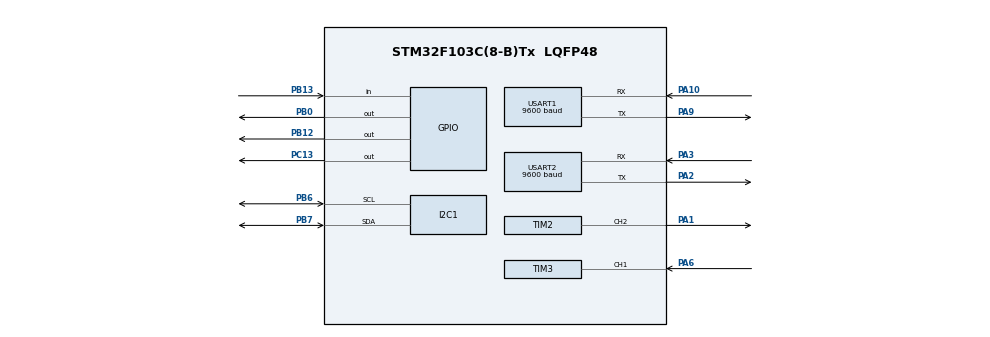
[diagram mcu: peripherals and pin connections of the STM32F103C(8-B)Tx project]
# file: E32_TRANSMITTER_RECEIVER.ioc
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Dma.Request0=TIM2_CH2/CH4
Dma.Request1=TIM3_CH4/UP
Dma.TIM2_CH2/CH4.0.Direction=DMA_MEMORY_TO_PERIPH
Dma.TIM2_CH2/CH4.0.Instance=DMA1_Channel7
Dma.TIM2_CH2/CH4.0.MemDataAlignment=DMA_MDATAALIGN_HALFWORD
Dma.TIM2_CH2/CH4.0.MemInc=DMA_MINC_ENABLE
Dma.TIM2_CH2/CH4.0.Mode=DMA_NORMAL
Dma.TIM2_CH2/CH4.0.PeriphDataAlignment=DMA_PDATAALIGN_HALFWORD
Dma.TIM2_CH2/CH4.0.PeriphInc=DMA_PINC_DISABLE
Dma.TIM2_CH2/CH4.0.Priority=DMA_PRIORITY_LOW
Dma.TIM3_CH4/UP.1.Direction=DMA_MEMORY_TO_PERIPH
Dma.TIM3_CH4/UP.1.Instance=DMA1_Channel3
Dma.TIM3_CH4/UP.1.MemDataAlignment=DMA_MDATAALIGN_HALFWORD
Dma.TIM3_CH4/UP.1.MemInc=DMA_MINC_ENABLE
Dma.TIM3_CH4/UP.1.Mode=DMA_NORMAL
Dma.TIM3_CH4/UP.1.PeriphDataAlignment=DMA_PDATAALIGN_HALFWORD
Dma.TIM3_CH4/UP.1.PeriphInc=DMA_PINC_DISABLE
Dma.TIM3_CH4/UP.1.Priority=DMA_PRIORITY_LOW
I2C1.I2C_Mode=I2C_Fast
Mcu.Family=STM32F1
Mcu.Name=STM32F103C(8-B)Tx
Mcu.Package=LQFP48
NVIC.DMA1_Channel3_IRQn=true\:0\:0\:false\:false\:true\:false\:true\:true
NVIC.DMA1_Channel7_IRQn=true\:0\:0\:false\:false\:true\:false\:true\:true
NVIC.I2C1_ER_IRQn=true\:0\:0\:false\:false\:true\:true\:true\:true
NVIC.I2C1_EV_IRQn=true\:0\:0\:false\:false\:true\:true\:true\:true
NVIC.PriorityGroup=NVIC_PRIORITYGROUP_4
NVIC.TIM2_IRQn=true\:0\:0\:false\:false\:true\:true\:true\:true
NVIC.TIM3_IRQn=true\:0\:0\:false\:false\:true\:true\:true\:true
PA1.Signal=S_TIM2_CH2
PA10.Mode=Asynchronous
PA10.Signal=USART1_RX
PA2.Mode=Asynchronous
PA2.Signal=USART2_TX
PA3.Mode=Asynchronous
PA3.Signal=USART2_RX
PA6.Signal=S_TIM3_CH1
PA9.Mode=Asynchronous
PA9.Signal=USART1_TX
PB0.GPIO_PuPd=GPIO_PULLDOWN
PB0.PinState=GPIO_PIN_RESET
PB0.Signal=GPIO_Output
PB12.GPIO_PuPd=GPIO_PULLDOWN
PB12.Signal=GPIO_Output
PB13.GPIO_PuPd=GPIO_PULLDOWN
PB13.Signal=GPIO_Input
PB6.Mode=I2C
PB6.Signal=I2C1_SCL
PB7.Mode=I2C
PB7.Signal=I2C1_SDA
PC13-TAMPER-RTC.Signal=GPIO_Output
PD0-OSC_IN.Mode=HSE-External-Oscillator
PD0-OSC_IN.Signal=RCC_OSC_IN
PD1-OSC_OUT.Mode=HSE-External-Oscillator
PD1-OSC_OUT.Signal=RCC_OSC_OUT
ProjectManager.HeapSize=0x200
ProjectManager.StackSize=0x400
ProjectManager.TargetToolchain=STM32CubeIDE
RCC.APB1Freq_Value=8000000
RCC.APB2Freq_Value=8000000
SH.S_TIM2_CH2.0=TIM2_CH2,PWM Generation2 CH2
SH.S_TIM3_CH1.0=TIM3_CH1,Input_Capture1_from_TI1
TIM2.Channel-PWM\ Generation2\ CH2=TIM_CHANNEL_2
TIM2.Period=999
TIM2.Prescaler=79
TIM3.Channel-Input_Capture1_from_TI1=TIM_CHANNEL_1
TIM3.Prescaler=79
USART1.BaudRate=9600
USART1.VirtualMode=VM_ASYNC
USART2.BaudRate=9600
USART2.VirtualMode=VM_ASYNC
VP_SYS_VS_ND.Mode=No_Debug
board=custom

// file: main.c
/* USER CODE BEGIN Header */
/**
  ******************************************************************************
  * @file    main.c
  * @brief   Unified TX/RX firmware
  *          PB12=HIGH → TRANSMITTER
  *          PB12=LOW  → RECEIVER
  ******************************************************************************
  */
//Timers:
//  TIM2 → CH2 PWM output  → PA1
//  TIM3 → CH1 Input Capture → PA6
//         Base interrupt ON
//         IC interrupt ON
//
//UART:
//  USART1 → 9600 baud → PA9(TX) PA10(RX)
//  USART2 → 9600 baud → PA2(TX) PA3(RX)
//
//GPIO outputs:
//  PB0  → E32 M0+M1 shorted (LOW=Normal, HIGH=Configure)
//  PB12 → Input pull-down → HIGH=TX / LOW=RX
//  PC13 → Output → LED
//
//I2C1:
//  PB6 SCL, PB7 SDA
//  Speed = 100kHz
/* USER CODE END Header */

#include "main.h"
#include "dma.h"
#include "i2c.h"
#include "tim.h"
#include "usart.h"
#include "gpio.h"

/* USER CODE BEGIN Includes */
#include "ssd1306.h"
#include "fonts.h"
#include <stdio.h>
#include <string.h>
/* USER CODE END Includes */

/* USER CODE BEGIN PTD */
typedef enum
{
    ROLE_IDLE        = 0,
    ROLE_TRANSMITTER = 1,
    ROLE_RECEIVER    = 2
} DeviceRole;
/* USER CODE END PTD */

/* USER CODE BEGIN PD */
/* ── Role pin ── */
#define TX_SELECT_PORT      GPIOB
#define TX_SELECT_PIN       GPIO_PIN_12

/* ── E32 mode pin ── */
#define E32_M0_PORT         GPIOB
#define E32_M0_PIN          GPIO_PIN_0

/* ── E32 operating mode — change this line only ──
 *    NORMAL    → PB0 LOW  → M0=0, M1=0 → Normal operation
 *    CONFIGURE → PB0 HIGH → M0=1, M1=1 → Configure mode   */
#define NORMAL              0
#define CONFIGURE           1
#define E32_MODE            NORMAL    /* <── change here */

#if E32_MODE == CONFIGURE
    #define E32_ApplyMode() HAL_GPIO_WritePin(E32_M0_PORT, E32_M0_PIN, GPIO_PIN_SET)
#else
    #define E32_ApplyMode() HAL_GPIO_WritePin(E32_M0_PORT, E32_M0_PIN, GPIO_PIN_RESET)
#endif

/* ── UART aliases ── */
#define FTDI_UART           huart1    /* USART1 PA9/PA10 → FTDI/PC  */
#define E32_UART            huart2    /* USART2 PA2/PA3  → E32 LoRa */

/* ── OLED addresses ── */
#define OLED_ADDR_PRIMARY   0x78
#define OLED_ADDR_FALLBACK  0x7A

/* ── RX buffer ── */
#define RX_BUF_SIZE         80

/* ── Timer clock: HSI 8MHz, PSC=79 → 100kHz ── */
#define TIMER_CLK           100000.0f
#define PPR                 1

/* ── Averaging ── */
#define AVG_LOW             4
#define AVG_MID             16
#define AVG_HIGH            64
#define AVG_MAX             64
#define MA_WINDOW           10

/* ── TX timing ── */
#define TX_INTERVAL_MS      500
#define E32_TX_DELAY_MS     200
/* USER CODE END PD */

/* USER CODE BEGIN PV */
/* ── Role ── */
static DeviceRole g_role = ROLE_IDLE;

/* ── TX variables ── */
static volatile uint32_t overflow_count = 0;
static uint32_t cap_buf[AVG_MAX + 1];
static uint8_t  cap_idx    = 0;
static uint8_t  cur_avg    = AVG_MID;
static uint8_t  meas_ready = 0;
volatile float  g_Frequency = 0.0f;

/* ── Moving average ── */
static float   ma_buf[MA_WINDOW] = {0};
static uint8_t ma_idx   = 0;
static uint8_t ma_count = 0;

/* ── RX variables ── */
static char    rx_buf[RX_BUF_SIZE];
static uint8_t rx_idx = 0;
/* USER CODE END PV */

void SystemClock_Config(void);
/* USER CODE BEGIN PFP */
static float   moving_average(float v);
static void    E32_SetMode(void);
static void    E32_Transmit(uint32_t freq, uint32_t rpm);
static void    TX_OLED_Display(uint32_t freq, uint32_t rpm);
static uint8_t OLED_Verify(void);
static void    Parse_And_Display(char *line);
static void    TX_Init(void);
static void    TX_Loop(void);
static void    RX_Init(void);
static void    RX_Loop(void);
static void    IDLE_Loop(void);
/* USER CODE END PFP */

/* USER CODE BEGIN 0 */

/* ══════════════════════════════════════════════
 * MOVING AVERAGE
 * ══════════════════════════════════════════════ */
static float moving_average(float new_freq)
{
    if (ma_count > 0)
    {
        float last = ma_buf[(ma_idx == 0) ?
                    (MA_WINDOW - 1) : (ma_idx - 1)];
        if (last > 0.0f)
        {
            float ratio = new_freq / last;
            if (ratio < 0.5f || ratio > 2.0f)
            {
                ma_count = 0;
                ma_idx   = 0;
                for (uint8_t i = 0; i < MA_WINDOW; i++)
                    ma_buf[i] = 0.0f;
            }
        }
    }
    ma_buf[ma_idx] = new_freq;
    ma_idx = (ma_idx + 1) % MA_WINDOW;
    if (ma_count < MA_WINDOW) ma_count++;

    float sum = 0.0f;
    for (uint8_t i = 0; i < ma_count; i++)
        sum += ma_buf[i];
    return sum / (float)ma_count;
}

/* ══════════════════════════════════════════════
 * E32 MODE
 * ══════════════════════════════════════════════ */
static void E32_SetMode(void)
{
    E32_ApplyMode();
    HAL_Delay(100);
}

/* ══════════════════════════════════════════════
 * E32 TRANSMIT
 * ══════════════════════════════════════════════ */
static void E32_Transmit(uint32_t freq, uint32_t rpm)
{
    char buf[64];
    int  len = snprintf(buf, sizeof(buf),
                        "FREQ:%lu RPM:%lu\r\n",
                        freq, rpm);

    /* Send over LoRa */
    HAL_UART_Transmit(&E32_UART,
                      (uint8_t *)buf, (uint16_t)len, 200);
    HAL_Delay(E32_TX_DELAY_MS);

    /* Echo to PC terminal */
    HAL_UART_Transmit(&FTDI_UART,
                      (uint8_t *)buf, (uint16_t)len, 200);
}

/* ══════════════════════════════════════════════
 * TIMER CALLBACKS — guarded by g_role
 * ══════════════════════════════════════════════ */
void HAL_TIM_PeriodElapsedCallback(TIM_HandleTypeDef *htim)
{
    if (g_role == ROLE_TRANSMITTER && htim->Instance == TIM3)
        overflow_count++;
}

void HAL_TIM_IC_CaptureCallback(TIM_HandleTypeDef *htim)
{
    if (g_role != ROLE_TRANSMITTER)                  return;
    if (htim->Instance != TIM3)                      return;
    if (htim->Channel  != HAL_TIM_ACTIVE_CHANNEL_1)  return;

    HAL_GPIO_TogglePin(GPIOC, GPIO_PIN_13);

    uint16_t captured = (uint16_t)HAL_TIM_ReadCapturedValue(
                                   htim, TIM_CHANNEL_1);
    uint32_t ovf = overflow_count;

    if ((TIM3->SR & TIM_SR_UIF) && (captured < 0x8000))
        ovf--;

    uint32_t timestamp = (ovf * 65536UL) + (uint32_t)captured;
    cap_buf[cap_idx]   = timestamp;
    cap_idx++;

    if (cap_idx <= cur_avg) return;

    uint32_t total_ticks = cap_buf[cur_avg] - cap_buf[0];
    if (total_ticks > 0)
    {
        float avg_period = (float)total_ticks / (float)cur_avg;
        float new_freq   = TIMER_CLK / avg_period;

        if      (new_freq <  100.0f) cur_avg = AVG_LOW;
        else if (new_freq < 1000.0f) cur_avg = AVG_MID;
        else                         cur_avg = AVG_HIGH;

        g_Frequency = new_freq;
        meas_ready  = 1;
    }
    cap_idx = 0;
}

/* ══════════════════════════════════════════════
 * OLED HELPERS
 * ══════════════════════════════════════════════ */
static uint8_t OLED_Verify(void)
{
    if (HAL_I2C_IsDeviceReady(&hi2c1,
        OLED_ADDR_PRIMARY,  3, 100) == HAL_OK) return 1;
    if (HAL_I2C_IsDeviceReady(&hi2c1,
        OLED_ADDR_FALLBACK, 3, 100) == HAL_OK) return 1;
    return 0;
}

/* ══════════════════════════════════════════════
 * TX OLED DISPLAY
 * Row 0  : "Transmitter"
 * Row 16 : "FREQ:xxx Hz"
 * Row 35 : "RPM :xxx"
 * ══════════════════════════════════════════════ */
static void TX_OLED_Display(uint32_t freq, uint32_t rpm)
{
    char buf[22];
    SSD1306_Fill(SSD1306_COLOR_BLACK);

    SSD1306_GotoXY(0, 0);
    SSD1306_Puts("Transmitter", &Font_7x10, SSD1306_COLOR_WHITE);

    snprintf(buf, sizeof(buf), "FREQ:%lu Hz", freq);
    SSD1306_GotoXY(0, 16);
    SSD1306_Puts(buf, &Font_7x10, SSD1306_COLOR_WHITE);

    snprintf(buf, sizeof(buf), "RPM :%lu", rpm);
    SSD1306_GotoXY(0, 35);
    SSD1306_Puts(buf, &Font_7x10, SSD1306_COLOR_WHITE);

    SSD1306_UpdateScreen();
}

/* ══════════════════════════════════════════════
 * PARSE AND DISPLAY (RX side)
 * Row 0  : "Receiver"
 * Row 16 : "FREQ=xxx Hz"
 * Row 32 : "RPM =xxx"
 * Row 48 : "GEN =xxx Hz"
 * ══════════════════════════════════════════════ */
static void Parse_And_Display(char *line)
{
    int freq     = 0;
    int rval     = 0;
    int gen_freq = 0;

    /* Parse FREQ */
    char *p = strstr(line, "FREQ:");
    if (p) sscanf(p, "FREQ:%d", &freq);

    /* Parse RPM — tolerant of partial corruption */
    if      (strstr(line, "RPM:"))
        sscanf(strstr(line, "RPM:"), "RPM:%d", &rval);
    else if (strstr(line, "RM:"))
        sscanf(strstr(line, "RM:"),  "RM:%d",  &rval);
    else if (strstr(line, "RP:"))
        sscanf(strstr(line, "RP:"),  "RP:%d",  &rval);
    else if (strstr(line, "R:"))
        sscanf(strstr(line, "R:"),   "R:%d",   &rval);

    /* Regenerate PWM on PA1 TIM2 CH2 */
    if (freq > 0)
    {
        uint32_t timer_clk = 8000000UL;
        uint32_t total_div = timer_clk / (uint32_t)freq;

        uint32_t arr = 999;
        uint32_t psc = total_div / (arr + 1);
        if (psc == 0) psc = 1;
        arr = (total_div / psc) - 1;
        if (arr > 65535) arr = 65535;
        if (psc > 65535) psc = 65535;

        HAL_TIM_PWM_Stop(&htim2, TIM_CHANNEL_2);
        htim2.Instance->PSC  = psc - 1;
        htim2.Instance->ARR  = arr;
        htim2.Instance->CCR2 = (arr + 1) / 2;
        htim2.Instance->CNT  = 0;
        htim2.Instance->EGR  = TIM_EGR_UG;
        HAL_TIM_PWM_Start(&htim2, TIM_CHANNEL_2);

        gen_freq = (int)(timer_clk / (psc * (arr + 1)));
    }

    /* OLED — 4 lines */
    char l1[22], l2[22], l3[22];
    snprintf(l1, sizeof(l1), "FREQ=%d Hz", freq);
    snprintf(l2, sizeof(l2), "RPM =%d",    rval);
    snprintf(l3, sizeof(l3), "GEN =%d Hz", gen_freq);

    SSD1306_Fill(SSD1306_COLOR_BLACK);
    SSD1306_GotoXY(0,  0); SSD1306_Puts("Receiver", &Font_7x10, SSD1306_COLOR_WHITE);
    SSD1306_GotoXY(0, 16); SSD1306_Puts(l1, &Font_7x10, SSD1306_COLOR_WHITE);
    SSD1306_GotoXY(0, 32); SSD1306_Puts(l2, &Font_7x10, SSD1306_COLOR_WHITE);
    SSD1306_GotoXY(0, 48); SSD1306_Puts(l3, &Font_7x10, SSD1306_COLOR_WHITE);
    SSD1306_UpdateScreen();
}

/* ══════════════════════════════════════════════
 * TX INIT + LOOP
 * ══════════════════════════════════════════════ */
static void TX_Init(void)
{
    /* 1 long blink = TX role */
    HAL_GPIO_WritePin(GPIOC, GPIO_PIN_13, GPIO_PIN_RESET);
    HAL_Delay(800);
    HAL_GPIO_WritePin(GPIOC, GPIO_PIN_13, GPIO_PIN_SET);
    HAL_Delay(200);

    E32_SetMode();

    const char *msg = "=== TRANSMITTER READY (HSI 8MHz) ===\r\n";
    HAL_UART_Transmit(&FTDI_UART,
                      (uint8_t *)msg, strlen(msg), 200);

    if (OLED_Verify() == 0)
    {
        while (1)
        {
            HAL_GPIO_TogglePin(GPIOC, GPIO_PIN_13);
            HAL_Delay(100);
        }
    }

    SSD1306_Init();
    SSD1306_Fill(SSD1306_COLOR_BLACK);

    SSD1306_GotoXY(0,  0);
    SSD1306_Puts("Transmitter",  &Font_7x10, SSD1306_COLOR_WHITE);
    SSD1306_GotoXY(0, 16);
    SSD1306_Puts("FREQ: ----",   &Font_7x10, SSD1306_COLOR_WHITE);
    SSD1306_GotoXY(0, 35);
    SSD1306_Puts("RPM:  ----",   &Font_7x10, SSD1306_COLOR_WHITE);

    SSD1306_UpdateScreen();

    HAL_TIM_Base_Start_IT(&htim3);
    HAL_TIM_IC_Start_IT(&htim3, TIM_CHANNEL_1);
}

static void TX_Loop(void)
{
    uint32_t last_tx_tick  = 0;
    uint32_t last_pin_tick = 0;

    while (1)
    {
        uint32_t now = HAL_GetTick();

        /* ── Check role switch every 200ms ── */
        if ((now - last_pin_tick) >= 200)
        {
            last_pin_tick = now;
            uint8_t tx = HAL_GPIO_ReadPin(
                         TX_SELECT_PORT, TX_SELECT_PIN);
            DeviceRole nr = tx ? ROLE_TRANSMITTER : ROLE_RECEIVER;
            if (nr != g_role)
            {
                HAL_Delay(50);
                NVIC_SystemReset();
            }
        }

        if (meas_ready)
        {
            meas_ready = 0;
            float freq_smooth = moving_average(g_Frequency);

            if ((now - last_tx_tick) >= TX_INTERVAL_MS)
            {
                last_tx_tick      = now;
                uint32_t freq_int = (uint32_t)(freq_smooth + 0.5f);
                uint32_t rpm_int  = (freq_int * 60U) / PPR;

                E32_Transmit(freq_int, rpm_int);
                TX_OLED_Display(freq_int, rpm_int);
            }
        }
    }
}

/* ══════════════════════════════════════════════
 * RX INIT + LOOP
 * ══════════════════════════════════════════════ */
static void RX_Init(void)
{
    /* Stop TX timers if switching from TX role */
    HAL_TIM_IC_Stop_IT(&htim3,  TIM_CHANNEL_1);
    HAL_TIM_Base_Stop_IT(&htim3);

    /* 3 short blinks = RX role */
    for (int i = 0; i < 3; i++)
    {
        HAL_GPIO_WritePin(GPIOC, GPIO_PIN_13, GPIO_PIN_RESET);
        HAL_Delay(150);
        HAL_GPIO_WritePin(GPIOC, GPIO_PIN_13, GPIO_PIN_SET);
        HAL_Delay(150);
    }

    E32_SetMode();

    if (OLED_Verify() == 0)
    {
        while (1)
        {
            HAL_GPIO_TogglePin(GPIOC, GPIO_PIN_13);
            HAL_Delay(100);
        }
    }

    HAL_TIM_PWM_Start(&htim2, TIM_CHANNEL_2);

    SSD1306_Init();
    SSD1306_Fill(SSD1306_COLOR_BLACK);

    SSD1306_GotoXY(0,  0);
    SSD1306_Puts("Receiver",    &Font_7x10, SSD1306_COLOR_WHITE);
    SSD1306_GotoXY(0, 16);
    SSD1306_Puts("FREQ= ----",  &Font_7x10, SSD1306_COLOR_WHITE);
    SSD1306_GotoXY(0, 35);
    SSD1306_Puts("RPM = ----",  &Font_7x10, SSD1306_COLOR_WHITE);

    SSD1306_UpdateScreen();

    const char *msg = "=== RECEIVER READY (HSI 8MHz) ===\r\n";
    HAL_UART_Transmit(&FTDI_UART,
                      (uint8_t *)msg, strlen(msg), 200);
}

static void RX_Loop(void)
{
    uint32_t last_pin_tick = 0;

    while (1)
    {
        uint32_t now = HAL_GetTick();

        /* ── Check role switch every 200ms ── */
        if ((now - last_pin_tick) >= 200)
        {
            last_pin_tick = now;
            uint8_t tx = HAL_GPIO_ReadPin(
                         TX_SELECT_PORT, TX_SELECT_PIN);
            DeviceRole nr = tx ? ROLE_TRANSMITTER : ROLE_RECEIVER;
            if (nr != g_role)
            {
                HAL_Delay(50);
                NVIC_SystemReset();
            }
        }

        /* ── Receive from E32 on USART2 ── */
        uint8_t byte;
        if (HAL_UART_Receive(&E32_UART, &byte, 1, 50) == HAL_OK)
        {
            /* Mirror to FTDI terminal */
            HAL_UART_Transmit(&FTDI_UART, &byte, 1, 50);

            if (byte == '\n')
            {
                rx_buf[rx_idx] = '\0';
                Parse_And_Display(rx_buf);
                rx_idx = 0;
                memset(rx_buf, 0, sizeof(rx_buf));
            }
            else if (byte != '\r' && rx_idx < RX_BUF_SIZE - 1)
            {
                rx_buf[rx_idx++] = (char)byte;
            }
        }
    }
}

/* ══════════════════════════════════════════════
 * IDLE LOOP — should not normally be reached
 * ══════════════════════════════════════════════ */
static void IDLE_Loop(void)
{
    while (1)
    {
        HAL_GPIO_TogglePin(GPIOC, GPIO_PIN_13);
        HAL_Delay(500);
        NVIC_SystemReset();
    }
}

/* USER CODE END 0 */

int main(void)
{
  HAL_Init();
  SystemClock_Config();

  MX_GPIO_Init();
  MX_DMA_Init();
  MX_I2C1_Init();
  MX_TIM3_Init();
  MX_USART1_UART_Init();
  MX_USART2_UART_Init();
  MX_TIM2_Init();

  /* USER CODE BEGIN 2 */

    /* Debounce delay before reading pin */
    HAL_Delay(100);

    uint8_t tx_pin = (HAL_GPIO_ReadPin(
                      TX_SELECT_PORT, TX_SELECT_PIN)
                      == GPIO_PIN_SET) ? 1 : 0;

    g_role = tx_pin ? ROLE_TRANSMITTER : ROLE_RECEIVER;

    /* Debug — print detected role */
    char role_msg[50];
    snprintf(role_msg, sizeof(role_msg),
             "PB12=%d ROLE=%d\r\n",
             tx_pin, (int)g_role);
    HAL_UART_Transmit(&FTDI_UART,
                      (uint8_t*)role_msg,
                      strlen(role_msg), 300);

    switch (g_role)
    {
        case ROLE_TRANSMITTER:
            TX_Init();
            TX_Loop();
            break;
        case ROLE_RECEIVER:
            RX_Init();
            RX_Loop();
            break;
        default:
            IDLE_Loop();
            break;
    }

  /* USER CODE END 2 */

  while (1)
  {
  }
}

void SystemClock_Config(void)
{
  RCC_OscInitTypeDef RCC_OscInitStruct = {0};
  RCC_ClkInitTypeDef RCC_ClkInitStruct = {0};

  RCC_OscInitStruct.OscillatorType      = RCC_OSCILLATORTYPE_HSI;
  RCC_OscInitStruct.HSIState            = RCC_HSI_ON;
  RCC_OscInitStruct.HSICalibrationValue = RCC_HSICALIBRATION_DEFAULT;
  RCC_OscInitStruct.PLL.PLLState        = RCC_PLL_NONE;
  if (HAL_RCC_OscConfig(&RCC_OscInitStruct) != HAL_OK)
  {
    Error_Handler();
  }

  RCC_ClkInitStruct.ClockType      = RCC_CLOCKTYPE_HCLK | RCC_CLOCKTYPE_SYSCLK
                                   | RCC_CLOCKTYPE_PCLK1 | RCC_CLOCKTYPE_PCLK2;
  RCC_ClkInitStruct.SYSCLKSource   = RCC_SYSCLKSOURCE_HSI;
  RCC_ClkInitStruct.AHBCLKDivider  = RCC_SYSCLK_DIV1;
  RCC_ClkInitStruct.APB1CLKDivider = RCC_HCLK_DIV1;
  RCC_ClkInitStruct.APB2CLKDivider = RCC_HCLK_DIV1;

  if (HAL_RCC_ClockConfig(&RCC_ClkInitStruct, FLASH_LATENCY_0) != HAL_OK)
  {
    Error_Handler();
  }
}

void Error_Handler(void)
{
  __disable_irq();
  while (1)
  {
  }
}
